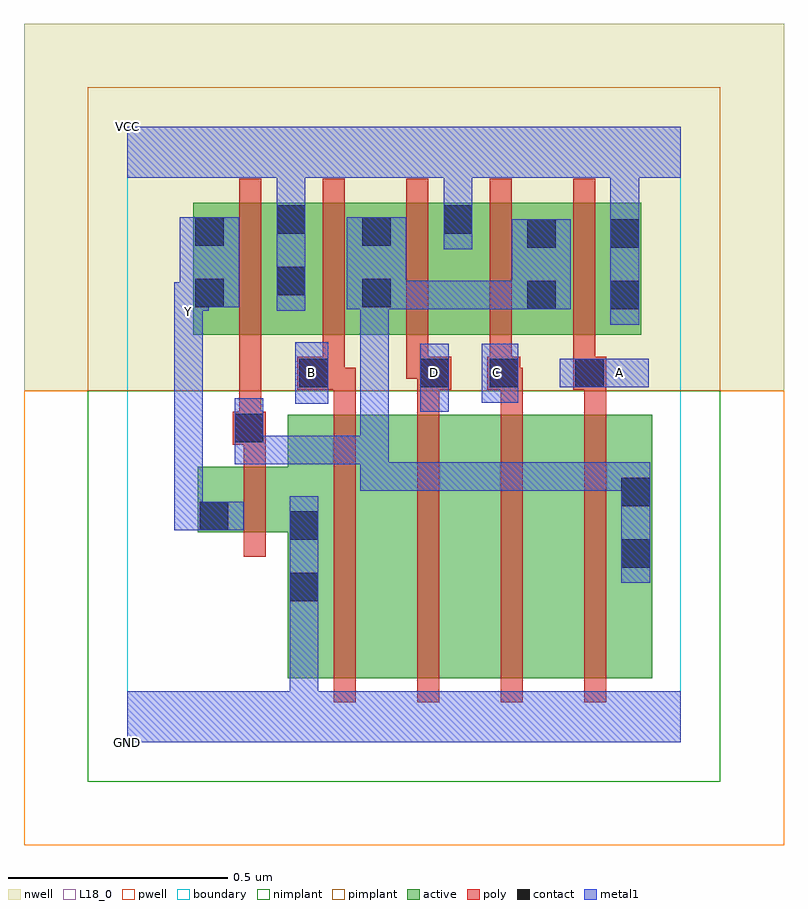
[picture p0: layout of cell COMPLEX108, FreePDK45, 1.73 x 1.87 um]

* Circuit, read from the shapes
.subckt COMPLEX108 A B C D GND VCC Y
M1 GND n1 Y VSUBS nfet w=0.15u l=0.05u
M2 n2 B GND VSUBS nfet w=0.6u l=0.05u
M3 n3 D n2 VSUBS nfet w=0.6u l=0.05u
M4 n4 C n3 VSUBS nfet w=0.6u l=0.05u
M5 n1 A n4 VSUBS nfet w=0.6u l=0.05u
M6 VCC n1 Y n5 pfet w=0.3u l=0.05u
M7 n1 B VCC n5 pfet w=0.3u l=0.05u
M8 VCC D n1 n5 pfet w=0.3u l=0.05u
M9 n1 C VCC n5 pfet w=0.3u l=0.05u
M10 VCC A n1 n5 pfet w=0.3u l=0.05u
.ends

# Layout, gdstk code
import gdstk
lib = gdstk.Library(unit=1e-6, precision=1e-09)
def R(c, l, rs):  # rectangles x0, y0, x1, y1
    for r in rs: c.add(gdstk.rectangle(r[:2], r[2:], *l))
def A(c, l, x, y, w, h, nx, ny, dx, dy):  # array of equal rectangles
    R(c, l, [(x+i*dx, y+j*dy, x+i*dx+w, y+j*dy+h) for i in range(nx) for j in range(ny)])
active = (1, 0)
pwell = (2, 0)
nwell = (3, 0)
nimplant = (4, 0)
pimplant = (5, 0)
poly = (9, 0)
contact = (10, 0)
metal1 = (11, 0)
L18_0 = (18, 0)
boundary = (235, 0)

complex108 = lib.new_cell('COMPLEX108')
R(complex108, active, [(0.365,0.145,0.59,0.745), (0.59,0.145,0.78,0.745), (0.78,0.145,0.97,0.745), (0.97,0.145,1.195,0.745), (1.12,0.145,1.195,0.745), (0.365,0.315,0.44,0.627), (0.16,0.477,0.44,0.627), (0.16,0.477,0.235,0.627), (0.15,0.927,0.225,1.2), (0.15,0.927,0.41,1.227), (0.335,0.927,0.41,1.227), (0.335,0.927,0.605,1.227), (0.53,0.927,0.605,1.2), (0.53,0.927,0.79,1.227), (0.715,0.927,0.98,1.227), (0.905,0.927,1.17,1.227), (0.905,0.927,0.98,1.2), (1.095,0.927,1.17,1.227), (0.715,1.002,0.79,1.227)])
R(complex108, pwell, [(-0.235,-0.235,1.495,0.8)])
R(complex108, nwell, [(-0.235,0.8,1.495,1.635)])
R(complex108, nimplant, [(-0.09,-0.09,1.35,0.8)])
R(complex108, pimplant, [(-0.09,0.8,1.35,1.49)])
A(complex108, poly, 0.47, 0.09, 0.05, 0.71, 4, 1, 0.19, 0)
A(complex108, poly, 0.47, 0.75, 0.05, 0.102, 4, 1, 0.19, 0)
A(complex108, poly, 0.445, 0.827, 0.05, 0.095, 4, 1, 0.19, 0)
A(complex108, poly, 0.255, 0.872, 0.05, 0.41, 5, 1, 0.19, 0)
R(complex108, poly, [(0.265,0.422,0.315,0.682), (0.265,0.632,0.315,0.727), (0.24,0.677,0.315,0.752), (0.255,0.702,0.305,0.752), (0.255,0.702,0.305,0.752), (0.255,0.702,0.305,0.922), (0.387,0.802,0.495,0.877), (0.445,0.802,0.495,0.852), (0.445,0.802,0.52,0.852), (0.66,0.802,0.737,0.877), (0.82,0.802,0.895,0.877), (0.845,0.802,0.895,0.852), (0.845,0.802,0.9,0.852), (1.015,0.802,1.09,0.877), (1.04,0.802,1.09,0.852), (1.04,0.802,1.09,0.852), (0.635,0.827,0.71,0.877), (0.66,0.827,0.71,0.877)])
R(complex108, contact, [(0.37,0.32,0.435,0.385), (1.125,0.397,1.19,0.462), (0.37,0.46,0.435,0.525), (0.165,0.482,0.23,0.547), (1.125,0.537,1.19,0.602), (0.245,0.682,0.31,0.747), (0.392,0.807,0.457,0.872), (0.667,0.807,0.732,0.872), (0.825,0.807,0.89,0.872), (1.02,0.807,1.085,0.872), (0.91,0.985,0.975,1.05), (1.1,0.985,1.165,1.05), (0.155,0.99,0.22,1.055), (0.535,0.99,0.6,1.055), (0.34,1.017,0.405,1.082), (0.91,1.125,0.975,1.19), (1.1,1.125,1.165,1.19), (0.155,1.13,0.22,1.195), (0.535,1.13,0.6,1.195), (0.34,1.157,0.405,1.222), (0.72,1.157,0.785,1.222)])
R(complex108, metal1, [(0,0,1.26,0.115), (0.37,0.05,0.435,0.35), (0.37,0.285,0.435,0.56), (1.125,0.362,1.19,0.637), (0.107,0.482,0.172,0.977), (0.107,0.482,0.265,0.547), (0.53,0.572,0.595,0.637), (0.53,0.572,0.595,0.637), (0.53,0.572,0.595,0.637), (0.53,0.572,0.802,0.637), (0.53,0.572,0.595,0.697), (0.737,0.572,0.802,0.637), (0.737,0.572,0.802,0.637), (0.737,0.572,0.802,0.637), (0.737,0.572,0.94,0.637), (0.875,0.572,1.19,0.637), (0.875,0.572,0.94,0.637), (0.875,0.572,0.94,0.637), (0.875,0.572,0.94,0.637), (0.245,0.632,0.447,0.697), (0.245,0.632,0.31,0.712), (0.382,0.632,0.447,0.697), (0.382,0.632,0.595,0.697), (0.53,0.632,0.595,0.697), (0.53,0.632,0.595,1.05), (0.245,0.647,0.31,0.712), (0.245,0.647,0.31,0.782), (0.667,0.752,0.732,0.907), (0.382,0.77,0.457,0.91), (0.807,0.772,0.89,0.907), (0.985,0.807,1.187,0.872), (0.107,0.912,0.172,1.047), (1.1,0.95,1.165,1.225), (0.107,0.982,0.172,1.047), (0.107,0.982,0.185,1.047), (0.12,0.982,0.185,1.055), (0.34,0.982,0.405,1.257), (0.5,0.985,0.635,1.195), (0.53,0.985,0.595,1.05), (0.53,0.985,0.595,1.05), (0.57,0.985,0.665,1.05), (0.6,0.985,0.802,1.05), (0.6,0.985,0.665,1.05), (0.737,0.985,0.802,1.05), (0.737,0.985,0.802,1.05), (0.737,0.985,0.802,1.05), (0.737,0.985,0.94,1.05), (0.875,0.985,1.01,1.19), (0.12,0.99,0.255,1.195), (0.72,1.122,0.785,1.257), (1.1,1.16,1.165,1.35), (0.34,1.192,0.405,1.35), (0.72,1.192,0.785,1.35), (0,1.285,1.26,1.4)])
R(complex108, L18_0, [(0,0,1.26,0.115), (0.37,0.05,0.435,0.35), (0.37,0.285,0.435,0.56), (0.107,0.482,0.265,0.547), (0.107,0.482,0.172,0.977), (0.667,0.752,0.732,0.907), (0.382,0.77,0.457,0.91), (0.807,0.772,0.89,0.907), (0.387,0.807,0.452,0.872), (0.667,0.807,0.732,0.872), (0.807,0.807,0.872,0.872), (0.985,0.807,1.187,0.872), (1.087,0.807,1.152,0.872), (0.107,0.912,0.172,1.047), (0.107,0.947,0.172,1.012), (1.1,0.95,1.165,1.225), (0.107,0.982,0.185,1.047), (0.107,0.982,0.172,1.047), (0.12,0.982,0.185,1.055), (0.34,0.982,0.405,1.257), (0.12,0.99,0.255,1.195), (0.72,1.122,0.785,1.257), (1.1,1.16,1.165,1.35), (0.34,1.192,0.405,1.35), (0.72,1.192,0.785,1.35), (0,1.285,1.26,1.4)])
R(complex108, boundary, [(0,0,1.26,1.4)])
complex108.add(gdstk.Label('A', (1.12,0.84), layer=11, texttype=0))
complex108.add(gdstk.Label('B', (0.42,0.84), layer=11, texttype=0))
complex108.add(gdstk.Label('C', (0.84,0.84), layer=11, texttype=0))
complex108.add(gdstk.Label('D', (0.7,0.84), layer=11, texttype=0))
complex108.add(gdstk.Label('Y', (0.14,0.98), layer=11, texttype=0))
complex108.add(gdstk.Label('VCC', (0,1.4), layer=11, texttype=0))
complex108.add(gdstk.Label('GND', (0,0), layer=11, texttype=0))

lib.write_gds('COMPLEX108.gds')
